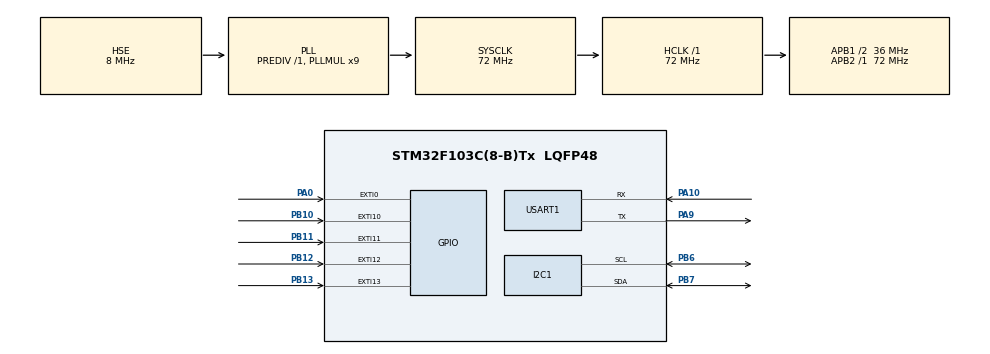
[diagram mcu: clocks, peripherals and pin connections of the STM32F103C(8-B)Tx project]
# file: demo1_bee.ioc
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Mcu.Family=STM32F1
Mcu.Name=STM32F103C(8-B)Tx
Mcu.Package=LQFP48
NVIC.EXTI0_IRQn=true\:10\:0\:true\:false\:true\:true\:true\:true
NVIC.EXTI15_10_IRQn=true\:12\:0\:true\:false\:true\:true\:true\:true
NVIC.PriorityGroup=NVIC_PRIORITYGROUP_4
PA0-WKUP.GPIO_ModeDefaultEXTI=GPIO_MODE_IT_FALLING
PA0-WKUP.GPIO_PuPd=GPIO_PULLUP
PA0-WKUP.Signal=GPXTI0
PA10.Mode=Asynchronous
PA10.Signal=USART1_RX
PA13.Mode=Serial_Wire
PA13.Signal=SYS_JTMS-SWDIO
PA14.Mode=Serial_Wire
PA14.Signal=SYS_JTCK-SWCLK
PA9.Mode=Asynchronous
PA9.Signal=USART1_TX
PB10.GPIO_ModeDefaultEXTI=GPIO_MODE_IT_FALLING
PB10.GPIO_PuPd=GPIO_PULLUP
PB10.Signal=GPXTI10
PB11.GPIO_ModeDefaultEXTI=GPIO_MODE_IT_FALLING
PB11.GPIO_PuPd=GPIO_PULLUP
PB11.Signal=GPXTI11
PB12.GPIO_ModeDefaultEXTI=GPIO_MODE_IT_RISING
PB12.GPIO_PuPd=GPIO_PULLDOWN
PB12.Signal=GPXTI12
PB13.GPIO_ModeDefaultEXTI=GPIO_MODE_IT_RISING
PB13.GPIO_PuPd=GPIO_PULLDOWN
PB13.Signal=GPXTI13
PB6.Mode=I2C
PB6.Signal=I2C1_SCL
PB7.Mode=I2C
PB7.Signal=I2C1_SDA
PC14-OSC32_IN.Mode=LSE-External-Oscillator
PC14-OSC32_IN.Signal=RCC_OSC32_IN
PC15-OSC32_OUT.Mode=LSE-External-Oscillator
PC15-OSC32_OUT.Signal=RCC_OSC32_OUT
PD0-OSC_IN.Mode=HSE-External-Oscillator
PD0-OSC_IN.Signal=RCC_OSC_IN
PD1-OSC_OUT.Mode=HSE-External-Oscillator
PD1-OSC_OUT.Signal=RCC_OSC_OUT
ProjectManager.HeapSize=0x200
ProjectManager.StackSize=0x400
ProjectManager.TargetToolchain=MDK-ARM V5.32
RCC.AHBFreq_Value=72000000
RCC.APB1CLKDivider=RCC_HCLK_DIV2
RCC.APB1Freq_Value=36000000
RCC.APB1TimFreq_Value=72000000
RCC.APB2Freq_Value=72000000
RCC.APB2TimFreq_Value=72000000
RCC.HCLKFreq_Value=72000000
RCC.PLLMUL=RCC_PLL_MUL9
RCC.PLLSourceVirtual=RCC_PLLSOURCE_HSE
RCC.SYSCLKFreq_VALUE=72000000
RCC.SYSCLKSource=RCC_SYSCLKSOURCE_PLLCLK
RCC.USBFreq_Value=72000000
USART1.VirtualMode=VM_ASYNC
board=custom

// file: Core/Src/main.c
/* USER CODE BEGIN Header */
/**
  ******************************************************************************
  * @file           : main.c
  * @brief          : Main program body
  ******************************************************************************
  * @attention
  *
  * Copyright (c) 2026 STMicroelectronics.
  * All rights reserved.
  *
  * This software is licensed under terms that can be found in the LICENSE file
  * in the root directory of this software component.
  * If no LICENSE file comes with this software, it is provided AS-IS.
  *
  ******************************************************************************
  */
/* USER CODE END Header */
#include "main.h"
#include "i2c.h"
#include "usart.h"
#include "gpio.h"

/* USER CODE BEGIN Includes */
#include "oled.h"

#include <stdio.h>

/* USER CODE END Includes */

/* USER CODE BEGIN PV */

uint32_t old_tim_ms = 0;
uint32_t s = 0;
uint8_t hour;
uint8_t min;
uint8_t sec;
uint8_t menu = 0;

volatile uint8_t key_flag_menu = 0;
volatile uint8_t key_flag_PB10 = 0;  // 0=正常走时，1=修改模式
volatile uint8_t key_flag_PB11 = 0;  //改时分秒
volatile uint8_t key_flag_PB12 = 0;
volatile uint8_t key_flag_PB13 = 0;

uint8_t edit_on = 0;

/* 修改模式相关状态（全局，保留状态） */

uint8_t edit_pos = 0;       // 0=改秒，1=改分，2=改时

uint32_t blink_last = 0;    // 上次闪烁切换的时刻
uint8_t blink_on = 0;       // 当前是否显示（1显示，0熄灭）

/* USER CODE END PV */

void SystemClock_Config(void);

int main(void)
{

  /* MCU Configuration--------------------------------------------------------*/

  /* Reset of all peripherals, Initializes the Flash interface and the Systick. */
  HAL_Init();

  /* Configure the system clock */
  SystemClock_Config();

  /* Initialize all configured peripherals */
  MX_GPIO_Init();
  MX_I2C1_Init();
  MX_USART1_UART_Init();
  /* USER CODE BEGIN 2 */

  // I2C_Scan();        /* 调试用，地址已确认是 0x3C */
  OLED_Init();          /* 初始化 OLED，并清屏 */

  /* USER CODE END 2 */

  /* Infinite loop */
  /* USER CODE BEGIN WHILE */
  while (1)
	{
		hour = (s / 3600) % 24;   // 总小时，对 24 取余，满 24 归 0
		min  = (s / 60) % 60;     // 总分钟，对 60 取余
		sec  = s % 60;            // 秒
		/* PB10 消抖：按下置标志 → 等松手 → 才切换 edit_on */
		if(key_flag_PB10 == 1 && HAL_GPIO_ReadPin(GPIOB, GPIO_PIN_10) == GPIO_PIN_SET)
		{
				key_flag_PB10 = 0;      // 清标志
				edit_on = !edit_on;     // 松手了，才真正切换修改模式
				OLED_Clear();           // 切换时清屏，避免残影
		}
		if(HAL_GetTick() - old_tim_ms >= 1000 && edit_on == 0)
		{
			old_tim_ms = HAL_GetTick();
			s++;
		}
		if(key_flag_menu == 1 && HAL_GPIO_ReadPin(GPIOA,GPIO_PIN_0)== GPIO_PIN_SET)
		{
			key_flag_menu = 0;
			menu = !menu;
			OLED_Clear();
		}
		if(menu == 0)
		{
			OLED_ShowChar(24,0,'S');
			OLED_ShowChar(32,0,'T');
			OLED_ShowChar(40,0,'M');
			OLED_ShowChar(48,0,'3');
			OLED_ShowChar(56,0,'2');
			OLED_ShowChar(72,0,'O');
			OLED_ShowChar(80,0,'L');
			OLED_ShowChar(88,0,'E');
			OLED_ShowChar(96,0,'D');
		}
		else if(menu == 1 && edit_on == 0)
		{
			OLED_ShowChar(0, 0, '0' + hour/10);
			OLED_ShowChar(16, 0, '0' + hour%10);
			OLED_ShowChar(32, 0, ':');
			OLED_ShowChar(48, 0, '0' + min/10);
			OLED_ShowChar(64, 0, '0' + min%10);
			OLED_ShowChar(80, 0, ':');
			OLED_ShowChar(96, 0, '0' + sec/10);
			OLED_ShowChar(112, 0, '0' + sec%10);
		}
		else if(edit_on == 1 && menu == 1)
		{
			/* ① 每 500ms 翻转一次闪烁标志（全局变量，状态能保留） */
			if(HAL_GetTick() - blink_last >= 500)
			{
					blink_last = HAL_GetTick();
					blink_on = !blink_on;
			}

			/* ② 处理按键：PB11 切换编辑位，PB12 减，PB13 加（先置标志，主循环判断松手） */
			if(key_flag_PB11 == 1 && HAL_GPIO_ReadPin(GPIOB, GPIO_PIN_11) == GPIO_PIN_SET)
			{
					key_flag_PB11 = 0;
					edit_pos = (edit_pos + 1) % 3;   // 0→1→2→0 循环
			}

			/* ③ 加减逻辑（按 edit_pos 决定改秒/分/时），注意加边界 */
			if(key_flag_PB12 == 1 && HAL_GPIO_ReadPin(GPIOB, GPIO_PIN_12) == GPIO_PIN_RESET)
			{
					key_flag_PB12 = 0;
					if(edit_pos == 0)      s = (s == 0) ? 0 : s - 1;
					else if(edit_pos == 1) s = (s < 60) ? 0 : s - 60;
					else if(edit_pos == 2) s = (s < 3600) ? 0 : s - 3600;
			}
			if(key_flag_PB13 == 1 && HAL_GPIO_ReadPin(GPIOB, GPIO_PIN_13) == GPIO_PIN_RESET)
			{
					key_flag_PB13 = 0;
					if(edit_pos == 0)      s++;
					else if(edit_pos == 1) s += 60;
					else if(edit_pos == 2) s += 3600;
			}

			/* ④ 完整重绘时:分:秒，正在编辑的那一位按 blink_on 闪烁 */
			// 时
			if(edit_pos == 2 && blink_on == 1)
			{
					OLED_ShowChar(0, 0, ' ');
					OLED_ShowChar(16, 0, ' ');
			}
			else
			{
					OLED_ShowChar(0, 0, '0' + hour/10);
					OLED_ShowChar(16, 0, '0' + hour%10);
			}
			OLED_ShowChar(32, 0, ':');

			// 分
			if(edit_pos == 1 && blink_on == 1)
			{
					OLED_ShowChar(48, 0, ' ');
					OLED_ShowChar(64, 0, ' ');
			}
			else
			{
					OLED_ShowChar(48, 0, '0' + min/10);
					OLED_ShowChar(64, 0, '0' + min%10);
			}
			OLED_ShowChar(80, 0, ':');

			// 秒
			if(edit_pos == 0 && blink_on == 1)
			{
					OLED_ShowChar(96, 0, ' ');
					OLED_ShowChar(112, 0, ' ');
			}
			else
			{
					OLED_ShowChar(96, 0, '0' + sec/10);
					OLED_ShowChar(112, 0, '0' + sec%10);
			}
		}

    /* USER CODE END WHILE */

  }
}

void SystemClock_Config(void)
{
  RCC_OscInitTypeDef RCC_OscInitStruct = {0};
  RCC_ClkInitTypeDef RCC_ClkInitStruct = {0};

  /** Initializes the RCC Oscillators according to the specified parameters
  * in the RCC_OscInitTypeDef structure.
  */
  RCC_OscInitStruct.OscillatorType = RCC_OSCILLATORTYPE_HSE;
  RCC_OscInitStruct.HSEState = RCC_HSE_ON;
  RCC_OscInitStruct.HSEPredivValue = RCC_HSE_PREDIV_DIV1;
  RCC_OscInitStruct.HSIState = RCC_HSI_ON;
  RCC_OscInitStruct.PLL.PLLState = RCC_PLL_ON;
  RCC_OscInitStruct.PLL.PLLSource = RCC_PLLSOURCE_HSE;
  RCC_OscInitStruct.PLL.PLLMUL = RCC_PLL_MUL9;
  if (HAL_RCC_OscConfig(&RCC_OscInitStruct) != HAL_OK)
  {
    Error_Handler();
  }

  /** Initializes the CPU, AHB and APB buses clocks
  */
  RCC_ClkInitStruct.ClockType = RCC_CLOCKTYPE_HCLK|RCC_CLOCKTYPE_SYSCLK
                              |RCC_CLOCKTYPE_PCLK1|RCC_CLOCKTYPE_PCLK2;
  RCC_ClkInitStruct.SYSCLKSource = RCC_SYSCLKSOURCE_PLLCLK;
  RCC_ClkInitStruct.AHBCLKDivider = RCC_SYSCLK_DIV1;
  RCC_ClkInitStruct.APB1CLKDivider = RCC_HCLK_DIV2;
  RCC_ClkInitStruct.APB2CLKDivider = RCC_HCLK_DIV1;

  if (HAL_RCC_ClockConfig(&RCC_ClkInitStruct, FLASH_LATENCY_2) != HAL_OK)
  {
    Error_Handler();
  }
}

/* USER CODE BEGIN 4 */

int fputc(int ch,FILE *f)
{
	HAL_UART_Transmit(&huart1,(uint8_t *)&ch,1,HAL_MAX_DELAY);
	return ch;
}

void HAL_GPIO_EXTI_Callback(uint16_t GPIO_Pin)
{
	if(GPIO_Pin == GPIO_PIN_0 && key_flag_menu == 0)
	{
		key_flag_menu = 1;
	}
	if(GPIO_Pin == GPIO_PIN_10)
	{
		key_flag_PB10 = 1;
	}
	if(GPIO_Pin == GPIO_PIN_11)
	{
		key_flag_PB11 = 1;
	}
	if(GPIO_Pin == GPIO_PIN_12)
	{
		key_flag_PB12 = 1;
	}
	if(GPIO_Pin == GPIO_PIN_13)
	{
		key_flag_PB13 = 1;
	}
}

/* USER CODE END 4 */

void Error_Handler(void)
{
  __disable_irq();
  while (1)
  {
  }
}
